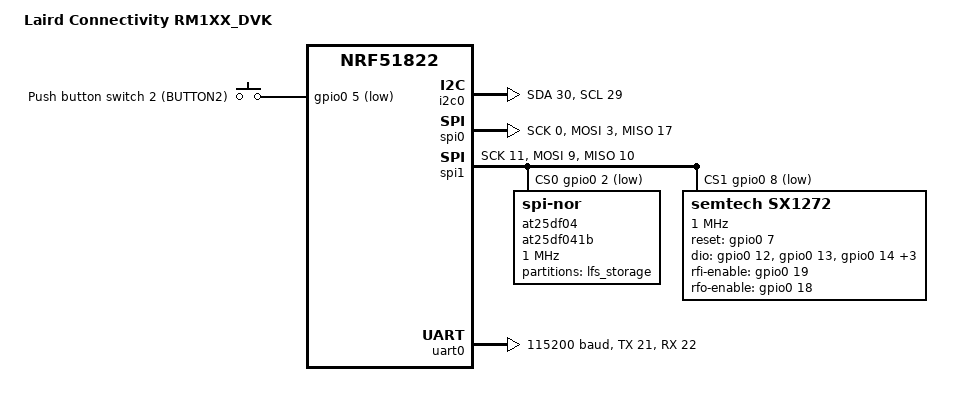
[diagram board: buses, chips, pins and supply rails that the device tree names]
/*
 * Copyright (c) 2021 Laird Connectivity
 *
 * SPDX-License-Identifier: Apache-2.0
 */

/dts-v1/;
#include <nordic/nrf51822_qfac.dtsi>

/ {
	model = "Laird Connectivity RM1XX_DVK";
	compatible = "lairdconnect,rm1xx_dvk";

	chosen {
		zephyr,console = &uart0;
		zephyr,shell-uart = &uart0;
		zephyr,bt-mon-uart = &uart0;
		zephyr,bt-c2h-uart = &uart0;
		zephyr,sram = &sram0;
		zephyr,flash = &flash0;
		zephyr,code-partition = &slot0_partition;
	};

	buttons {
		compatible = "gpio-keys";
		button2: button_2 {
			gpios = <&gpio0 5 (GPIO_PULL_UP | GPIO_ACTIVE_LOW)>;
			label = "Push button switch 2 (BUTTON2)";
		};
	};

	/* These aliases are provided for compatibility with samples */
	aliases {
		sw0 = &button2;
		lora0 = &lora0;
	};
};

&gpiote {
	status = "okay";
};

&gpio0 {
	status = "okay";
};

&i2c0 {
	compatible = "nordic,nrf-twi";
	status = "okay";
	sda-pin = <30>;
	scl-pin = <29>;
};

/* SPI0 cannot be used with I2C0 */
&spi0 {
	/* Disabled by default */
	compatible = "nordic,nrf-spi";
	sck-pin = <0>;
	mosi-pin = <3>;
	miso-pin = <17>;
	cs-gpios = <&gpio0 4 GPIO_ACTIVE_LOW>;
};

&spi1 {
	compatible = "nordic,nrf-spi";
	status = "okay";
	sck-pin = <11>;
	mosi-pin = <9>;
	miso-pin = <10>;
	cs-gpios = <&gpio0 2 (GPIO_ACTIVE_LOW | GPIO_PULL_UP)>,
		   <&gpio0 8 (GPIO_ACTIVE_LOW | GPIO_PULL_UP)>;

	at25: at25df041b@0 {
		compatible = "jedec,spi-nor";
		reg = <0>;
		spi-max-frequency = <1000000>;
		label = "at25df04";
		jedec-id = [1f 44 02];
		size = <0x400000>;
		has-lock = <0xbc>;
		has-dpd;
		t-enter-dpd = <500>;
		t-exit-dpd = <20>;
	};

	lora0: lora@1 {
		compatible = "semtech,sx1272";
		reg = <1>;
		label = "sx1272";
		reset-gpios = <&gpio0 7 GPIO_ACTIVE_HIGH>;
		dio-gpios = <&gpio0 12 GPIO_ACTIVE_HIGH>,
			    <&gpio0 13 GPIO_ACTIVE_HIGH>,
			    <&gpio0 14 GPIO_ACTIVE_HIGH>,
			    <&gpio0 15 GPIO_ACTIVE_HIGH>,
			    <&gpio0 16 GPIO_ACTIVE_HIGH>,
			    <&gpio0 1 GPIO_ACTIVE_HIGH>;
		rfi-enable-gpios = <&gpio0 19 GPIO_ACTIVE_HIGH>;
		rfo-enable-gpios = <&gpio0 18 GPIO_ACTIVE_HIGH>;
		spi-max-frequency = <1000000>;
	};
};

&uart0 {
	compatible = "nordic,nrf-uart";
	current-speed = <115200>;
	status = "okay";
	tx-pin = <21>;
	rx-pin = <22>;
	rts-pin = <23>;
	cts-pin = <24>;
};

&flash0 {
	partitions {
		compatible = "fixed-partitions";
		#address-cells = <1>;
		#size-cells = <1>;

		/* 52K */
		boot_partition: partition@0 {
			label = "mcuboot";
			reg = <0x000000000 0x0000C000>;
		};
		/* 188K */
		slot0_partition: partition@c000 {
			label = "image-0";
			reg = <0x0000C000 0x00030000>;
		};

		/*
		 * Storage partition will be used by FCB/LittleFS/NVS
		 * if enabled. 16KB
		 */
		storage_partition: partition@3c000 {
			label = "storage";
			reg = <0x0003C000 0x00004000>;
		};
	};
};

&at25 {
	partitions {
		compatible = "fixed-partitions";
		#address-cells = <1>;
		#size-cells = <1>;

		/* 188K reserved for slot1 */

		/* 68K */
		lfs_partition: partition@30000 {
			label = "lfs_storage";
			reg = <0x00030000 0x000010000>;
		};
	};
};
